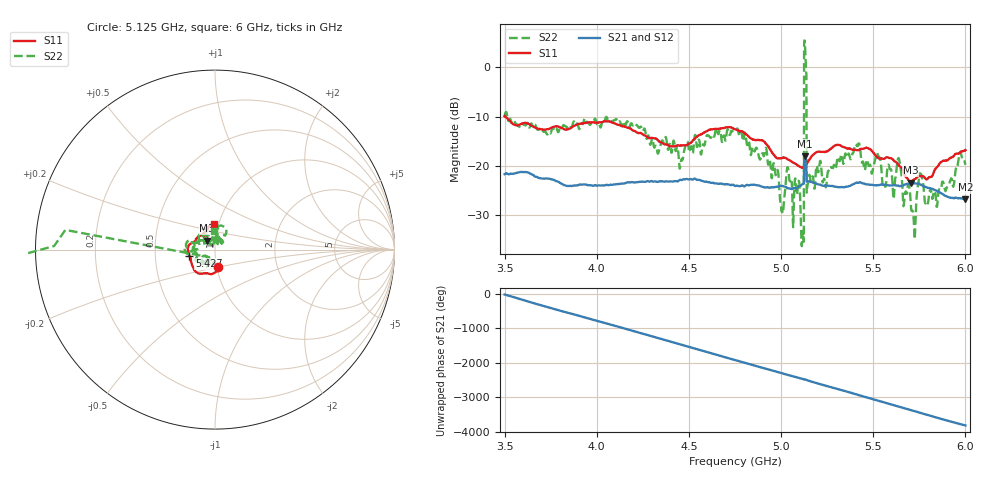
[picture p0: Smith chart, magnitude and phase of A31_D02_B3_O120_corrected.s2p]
! Created with skrf 1.9.0 (http://scikit-rf.org).
# Hz S RI R 50.0
!freq ReS11 ImS11 ReS21 ImS21 ReS12 ImS12 ReS22 ImS22
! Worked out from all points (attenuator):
!   1601 points, 3.5 GHz to 6 GHz, reference 50 ohm
!   highest |S21| = -18.06 dB at 5.128 GHz (marker M1); lowest = -26.8 dB at 6 GHz (marker M2)
!   lowest |S11| = -23.5 dB at 5.703 GHz (marker M3), VSWR 1.14, Z = 45.6 + j4.63 ohm
!   |S11| at or under -10 dB: 3.503 GHz to end of sweep
!   |S22| runs from -36.3 to 5.5 dB; largest |S21 - S12| = 0.001
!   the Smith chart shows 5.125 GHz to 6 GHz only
!   S11 on the Smith chart (normalised r, x): 5.125 GHz: 1.01, -0.20; 5.427 GHz: 0.75, -0.05; 6 GHz: 0.95, +0.28
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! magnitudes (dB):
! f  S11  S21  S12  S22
! 3.5 GHz  -9.9  -21.7  -21.7  -9.8
! 3.917 GHz  -11.4  -23.8  -23.8  -11.3
! 4.334 GHz  -15.0  -23.3  -23.2  -17.4
! 4.75 GHz  -12.6  -24.1  -24.0  -12.9
! 4.925 GHz  -15.8  -24.4  -24.4  -18.1
! 5.005 GHz  -18.4  -24.1  -24.1  -29.1
! 5.036 GHz  -18.7  -24.6  -24.5  -20.3
! 5.088 GHz  -19.8  -24.4  -24.4  -25.6
! 5.111 GHz  -20.4  -23.9  -23.9  -35.9
! 5.125 GHz  -20.1  -18.7  -18.7  4.7
! 5.128 GHz  -19.9  -18.1  -18.1  5.4
! 5.138 GHz  -19.6  -20.5  -20.5  -1.5
! 5.152 GHz  -18.9  -23.2  -23.2  -22.2
! 5.167 GHz  -18.0  -23.3  -23.3  -22.6
! 5.427 GHz  -16.7  -23.3  -23.3  -16.0
! 5.584 GHz  -18.4  -24.0  -24.0  -19.8
! 5.641 GHz  -20.0  -24.1  -24.1  -18.7
! 5.703 GHz  -23.5  -23.7  -23.6  -27.5
! 5.719 GHz  -22.8  -23.6  -23.5  -30.6
! 5.755 GHz  -22.1  -23.8  -23.7  -21.5
! 5.791 GHz  -22.8  -24.4  -24.4  -27.2
! 6 GHz  -16.8  -26.8  -26.7  -19.8
